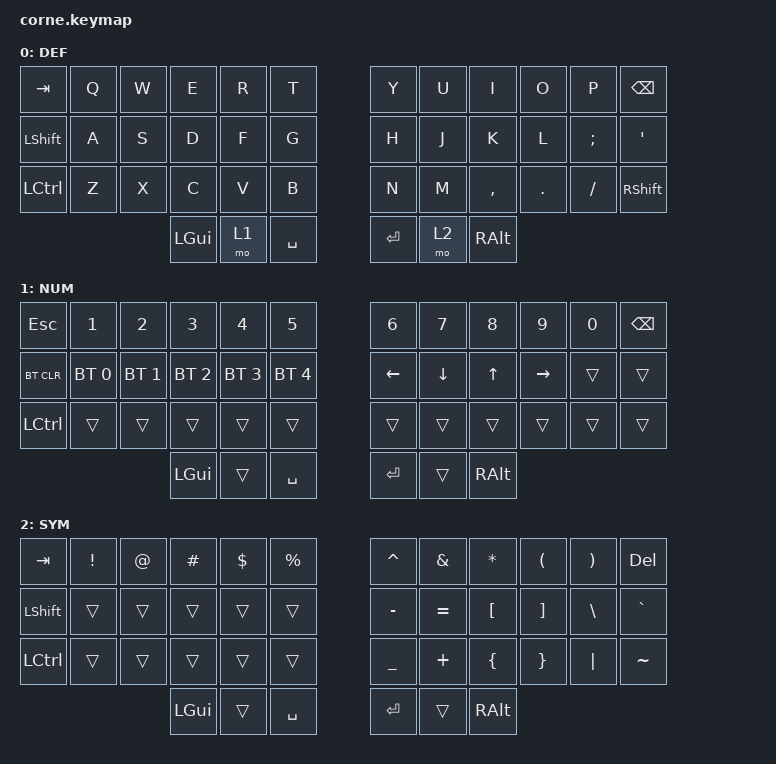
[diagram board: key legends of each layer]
/*
 * Copyright (c) 2020 The ZMK Contributors
 *
 * SPDX-License-Identifier: MIT
 */

#include <behaviors.dtsi>
#include <dt-bindings/zmk/keys.h>
#include <dt-bindings/zmk/bt.h>

/ {
        combos {
                compatible = "zmk,combos";
                // Cmd/Win + Enter + E → soft off. Reset button wakes from off.
                combo_soft_off {
                        timeout-ms = <300>;
                        require-prior-idle-ms = <200>;
                        key-positions = <36 39 3>;
                        bindings = <&soft_off>;
                };
        };

        keymap {
                compatible = "zmk,keymap";

                default_layer {
                        display-name = "DEF";
// -----------------------------------------------------------------------------------------
// |  TAB |  Q  |  W  |  E  |  R  |  T  |   |  Y  |  U   |  I  |  O  |  P  | BSPC |
// | SHFT |  A  |  S  |  D  |  F  |  G  |   |  H  |  J   |  K  |  L  |  ;  |  '   |
// | CTRL |  Z  |  X  |  C  |  V  |  B  |   |  N  |  M   |  ,  |  .  |  /  | SHFT |
//                    | GUI | LWR | SPC |   | ENT | RSE  | ALT |
                        bindings = <
   &kp TAB   &kp Q &kp W &kp E &kp R &kp T   &kp Y &kp U  &kp I     &kp O   &kp P    &kp BSPC
   &kp LSHFT &kp A &kp S &kp D &kp F &kp G   &kp H &kp J  &kp K     &kp L   &kp SEMI &kp SQT
   &kp LCTRL &kp Z &kp X &kp C &kp V &kp B   &kp N &kp M  &kp COMMA &kp DOT &kp FSLH &kp RSHFT
                  &kp LGUI &mo 1 &kp SPACE   &kp RET &mo 2 &kp RALT
                        >;
                };
                lower_layer {
                        display-name = "NUM";
// -----------------------------------------------------------------------------------------
// |  ESC |  1  |  2  |  3  |  4  |  5  |   |  6  |  7  |  8  |  9  |  0  | BSPC |
// | BTCLR| BT1 | BT2 | BT3 | BT4 | BT5 |   | LFT | DWN |  UP | RGT |     |      |
// | CTRL |     |     |     |     |     |   |     |     |     |     |     |      |
//                    | GUI |     | SPC |   | ENT |     | ALT |
                        bindings = <
   &kp ESC    &kp N1       &kp N2       &kp N3       &kp N4       &kp N5         &kp N6   &kp N7   &kp N8 &kp N9    &kp N0 &kp BSPC
   &bt BT_CLR &bt BT_SEL 0 &bt BT_SEL 1 &bt BT_SEL 2 &bt BT_SEL 3 &bt BT_SEL 4   &kp LEFT &kp DOWN &kp UP &kp RIGHT &trans &trans
   &kp LCTRL  &trans       &trans       &trans       &trans       &trans         &trans   &trans   &trans &trans    &trans &trans
                                    &kp LGUI     &trans       &kp SPACE      &kp RET  &trans   &kp RALT
                        >;
                };

                raise_layer {
                        display-name = "SYM";
// -----------------------------------------------------------------------------------------
// |  TAB |  !  |  @  |  #  |  $  |  %  |   |  ^  |  &  |  *  |  (  |  )  | DEL  |
// | SHFT |     |     |     |     |     |   |  -  |  =  |  [  |  ]  |  \  |  `   |
// | CTRL |     |     |     |     |     |   |  _  |  +  |  {  |  }  | "|" |  ~   |
//                    | GUI |     | SPC |   | ENT |     | ALT |
                        bindings = <
   &kp  TAB  &kp EXCL &kp AT &kp HASH &kp DLLR &kp PRCNT   &kp CARET &kp AMPS  &kp ASTRK &kp LPAR &kp RPAR &kp DEL
   &kp LSHFT &trans   &trans &trans   &trans   &trans      &kp MINUS &kp EQUAL &kp LBKT  &kp RBKT &kp BSLH &kp GRAVE
   &kp LCTRL &trans   &trans &trans   &trans   &trans      &kp UNDER &kp PLUS  &kp LBRC  &kp RBRC &kp PIPE &kp TILDE
                             &kp LGUI &trans   &kp SPACE   &kp RET   &trans    &kp RALT
                        >;
                };
        };
};
